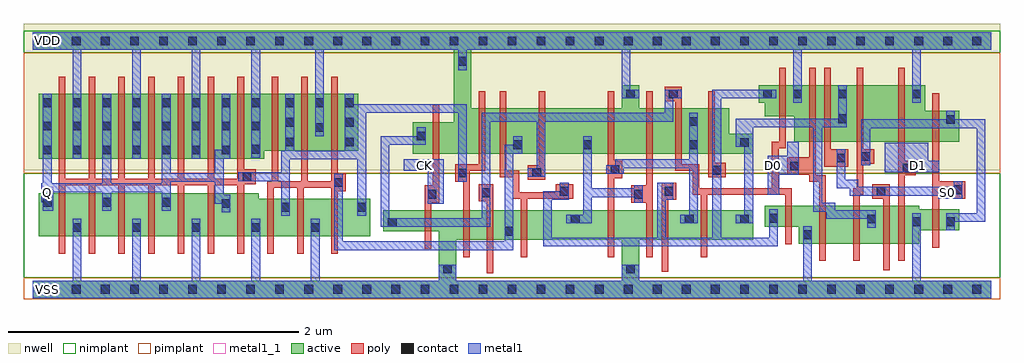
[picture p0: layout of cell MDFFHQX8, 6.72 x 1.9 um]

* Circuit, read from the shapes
.subckt MDFFHQX8 CK D0 D1 Q S0 VDD VSS
M1 VSS n1 Q VSS nfet w=0.295u l=0.045u m=7
M2 n1 n2 VSS VSS nfet w=0.26u l=0.045u m=3
M3 VSS CK n3 VSS nfet w=0.145u l=0.045u
M4 n4 n1 VSS VSS nfet w=0.205u l=0.045u
M5 n2 n3 n4 VSS nfet w=0.205u l=0.045u
M6 n5 n6 n2 VSS nfet w=0.205u l=0.045u
M7 VSS n7 n5 VSS nfet w=0.205u l=0.045u
M8 n8 n5 VSS VSS nfet w=0.205u l=0.045u
M9 n7 n6 n8 VSS nfet w=0.205u l=0.045u
M10 n9 n3 n7 VSS nfet w=0.205u l=0.045u
M11 VSS n3 n6 VSS nfet w=0.145u l=0.045u
M12 n10 D0 VSS VSS nfet w=0.26u l=0.045u
M13 n9 n11 n10 VSS nfet w=0.26u l=0.045u
M14 n12 S0 n9 VSS nfet w=0.26u l=0.045u
M15 VSS D1 n12 VSS nfet w=0.26u l=0.045u
M16 n11 S0 VSS VSS nfet w=0.145u l=0.045u
M17 VDD n1 Q VDD pfet w=0.445u l=0.045u m=7
M18 n1 n2 VDD VDD pfet w=0.39u l=0.045u m=3
M19 VDD CK n3 VDD pfet w=0.215u l=0.045u
M20 n13 n1 VDD VDD pfet w=0.31u l=0.045u
M21 n2 n6 n13 VDD pfet w=0.31u l=0.045u
M22 n5 n3 n2 VDD pfet w=0.31u l=0.045u
M23 VDD n7 n5 VDD pfet w=0.31u l=0.045u
M24 n14 n5 VDD VDD pfet w=0.31u l=0.045u
M25 n7 n3 n14 VDD pfet w=0.31u l=0.045u
M26 n9 n6 n7 VDD pfet w=0.31u l=0.045u
M27 VDD n3 n6 VDD pfet w=0.215u l=0.045u
M28 n15 D0 VDD VDD pfet w=0.39u l=0.045u
M29 n9 S0 n15 VDD pfet w=0.39u l=0.045u
M30 n16 n11 n9 VDD pfet w=0.39u l=0.045u
M31 VDD D1 n16 VDD pfet w=0.39u l=0.045u
M32 n11 S0 VDD VDD pfet w=0.215u l=0.045u
.ends

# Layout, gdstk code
import gdstk
lib = gdstk.Library(unit=1e-6, precision=5e-10)
def R(c, l, rs):  # rectangles x0, y0, x1, y1
    for r in rs: c.add(gdstk.rectangle(r[:2], r[2:], *l))
def A(c, l, x, y, w, h, nx, ny, dx, dy):  # array of equal rectangles
    R(c, l, [(x+i*dx, y+j*dy, x+i*dx+w, y+j*dy+h) for i in range(nx) for j in range(ny)])
def P(c, l, *ps):  # polygons
    for p in ps: c.add(gdstk.Polygon(p, *l))
active = (1, 0)
nwell = (2, 0)
poly = (3, 0)
nimplant = (4, 0)
pimplant = (5, 0)
contact = (6, 0)
metal1 = (7, 0)
metal1_1 = (7, 1)

mdffhqx8 = lib.new_cell('MDFFHQX8')
P(mdffhqx8, active, [(0,1.77),(6.6,1.77),(6.6,1.65),(3.02,1.65),(3.02,1.245),(4.055,1.245),(4.055,1.405),(4.175,1.405),(4.175,1.245),(4.795,1.245),(4.795,1.07),(4.96,1.07),(4.96,0.935),(2.615,0.935),(2.615,1.15),(2.9,1.15),(2.9,1.65),(0,1.65)],
  [(0.04,1.345),(2.24,1.345),(2.24,0.955),(1.595,0.955),(1.595,0.9),(0.04,0.9)],
  [(5,1.405),(6.145,1.405),(6.145,1.23),(6.38,1.23),(6.38,1.015),(5.245,1.015),(5.245,1.19),(5.04,1.19),(5.04,1.285),(5,1.285)],
  [(0.04,0.66),(1.555,0.66),(1.555,0.625),(2.325,0.625),(2.325,0.365),(0.04,0.365)],
  [(2.415,0.545),(4.96,0.545),(4.96,0.34),(4.175,0.34),(4.175,0.06),(6.6,0.06),(6.6,-0.06),(0,-0.06),(0,0.06),(2.795,0.06),(2.795,0.34),(2.915,0.34),(2.915,0.06),(4.055,0.06),(4.055,0.34),(2.795,0.34),(2.795,0.4),(2.415,0.4)],
  [(5.04,0.575),(6.105,0.575),(6.105,0.55),(6.38,0.55),(6.38,0.405),(6.105,0.405),(6.105,0.315),(5.275,0.315),(5.275,0.43),(5.04,0.43)])
R(mdffhqx8, nwell, [(-0.06,0.82,6.66,1.83)])
P(mdffhqx8, poly, [(0.18,1.465),(0.225,1.465),(0.225,0.76),(0.385,0.76),(0.385,1.465),(0.43,1.465),(0.43,0.76),(0.59,0.76),(0.59,1.465),(0.635,1.465),(0.635,0.76),(0.795,0.76),(0.795,1.465),(0.84,1.465),(0.84,0.76),(1,0.76),(1,1.465),(1.045,1.465),(1.045,0.76),(1.205,0.76),(1.205,1.465),(1.25,1.465),(1.25,0.76),(1.41,0.76),(1.41,1.465),(1.455,1.465),(1.455,0.825),(1.535,0.825),(1.535,0.725),(1.455,0.725),(1.455,0.245),(1.41,0.245),(1.41,0.715),(1.25,0.715),(1.25,0.245),(1.205,0.245),(1.205,0.715),(1.045,0.715),(1.045,0.245),(1,0.245),(1,0.715),(0.84,0.715),(0.84,0.245),(0.795,0.245),(0.795,0.715),(0.635,0.715),(0.635,0.245),(0.59,0.245),(0.59,0.715),(0.43,0.715),(0.43,0.245),(0.385,0.245),(0.385,0.715),(0.225,0.715),(0.225,0.245),(0.18,0.245)],
  [(1.645,1.465),(1.69,1.465),(1.69,0.745),(1.85,0.745),(1.85,1.465),(1.895,1.465),(1.895,0.745),(2.055,0.745),(2.055,1.465),(2.1,1.465),(2.1,0.795),(2.155,0.795),(2.155,0.675),(2.1,0.675),(2.1,0.245),(2.055,0.245),(2.055,0.7),(1.865,0.7),(1.865,0.245),(1.82,0.245),(1.82,0.7),(1.66,0.7),(1.66,0.245),(1.615,0.245),(1.615,0.745),(1.645,0.745)],
  [(4.35,1.395),(4.47,1.395),(4.47,0.86),(4.59,0.86),(4.59,0.695),(5.09,0.695),(5.09,1.015),(5.14,1.015),(5.14,1.525),(5.185,1.525),(5.185,0.97),(5.135,0.97),(5.135,0.695),(5.225,0.695),(5.225,0.31),(5.18,0.31),(5.18,0.65),(4.645,0.65),(4.645,0.22),(4.6,0.22),(4.6,0.65),(4.545,0.65),(4.545,0.815),(4.425,0.815),(4.425,1.295),(4.35,1.295)],
  [(2.755,1.27),(2.8,1.27),(2.8,0.595),(2.745,0.595),(2.745,0.28),(2.7,0.28),(2.7,0.715),(2.755,0.715)],
  [(3.07,1.365),(3.115,1.365),(3.115,0.815),(3.01,0.815),(3.01,0.22),(2.965,0.22),(2.965,0.74),(2.91,0.74),(2.91,0.86),(3.07,0.86)],
  [(3.215,1.365),(3.26,1.365),(3.26,0.815),(3.35,0.815),(3.35,0.67),(3.6,0.67),(3.6,0.725),(3.72,0.725),(3.72,0.625),(3.405,0.625),(3.405,0.22),(3.36,0.22),(3.36,0.625),(3.305,0.625),(3.305,0.77),(3.215,0.77)],
  [(3.485,1.365),(3.53,1.365),(3.53,0.755),(3.41,0.755),(3.41,0.855),(3.485,0.855)],
  [(3.96,1.365),(4.005,1.365),(4.005,0.885),(4.06,0.885),(4.06,0.765),(4.005,0.765),(4.005,0.22),(3.96,0.22)],
  [(4.225,1.365),(4.27,1.365),(4.27,0.22),(4.225,0.22),(4.225,0.595),(4.12,0.595),(4.12,0.715),(4.225,0.715)],
  [(5.345,1.525),(5.39,1.525),(5.39,0.785),(5.46,0.785),(5.46,0.195),(5.415,0.195),(5.415,0.74),(5.345,0.74),(5.345,0.79),(5.195,0.79),(5.195,0.91),(5.345,0.91)],
  [(5.45,1.525),(5.495,1.525),(5.495,0.965),(5.615,0.965),(5.615,0.845),(5.45,0.845)],
  [(5.675,1.525),(5.72,1.525),(5.72,0.965),(5.795,0.965),(5.795,0.865),(5.72,0.865),(5.72,0.65),(5.695,0.65),(5.695,0.195),(5.65,0.195),(5.65,0.695),(5.675,0.695)],
  [(5.96,1.525),(6.005,1.525),(6.005,0.885),(6.08,0.885),(6.08,0.785),(6.005,0.785),(6.005,0.195),(5.96,0.195)],
  [(4.65,1.365),(4.695,1.365),(4.695,0.87),(4.77,0.87),(4.77,0.77),(4.65,0.77)],
  [(6.195,1.35),(6.24,1.35),(6.24,0.745),(6.42,0.745),(6.42,0.625),(6.24,0.625),(6.24,0.285),(6.195,0.285)],
  [(3.07,0.725),(3.17,0.725),(3.17,0.11),(3.125,0.11),(3.125,0.605),(3.07,0.605)],
  [(4.33,0.735),(4.43,0.735),(4.43,0.615),(4.375,0.615),(4.375,0.12),(4.33,0.12)],
  [(5.78,0.725),(5.9,0.725),(5.9,0.13),(5.855,0.13),(5.855,0.625),(5.78,0.625)])
R(mdffhqx8, nimplant, [(-0.06,0.08,6.66,0.8), (-0.06,1.63,6.66,1.78)])
R(mdffhqx8, pimplant, [(-0.06,-0.07,6.66,0.08), (-0.06,0.8,6.66,1.63)])
A(mdffhqx8, contact, 0.07, -0.03, 0.06, 0.06, 33, 2, 0.2, 1.71)
A(mdffhqx8, contact, 0.275, 0.395, 0.06, 0.06, 5, 1, 0.41, 0)
A(mdffhqx8, contact, 0.07, 0.57, 0.06, 0.06, 3, 1, 0.41, 0)
A(mdffhqx8, contact, 0.07, 0.93, 0.06, 0.06, 7, 1, 0.205, 0)
A(mdffhqx8, contact, 0.07, 1.095, 0.06, 0.06, 8, 2, 0.205, 0.16)
A(mdffhqx8, contact, 1.74, 1.255, 0.06, 0.06, 3, 1, 0.205, 0)
R(mdffhqx8, contact, [(2.825,0.11,2.885,0.17), (4.085,0.11,4.145,0.17), (5.305,0.345,5.365,0.405), (3.25,0.37,3.31,0.43), (2.445,0.43,2.505,0.49), (6.055,0.435,6.115,0.495), (6.29,0.435,6.35,0.495), (3.705,0.455,3.765,0.515), (4.49,0.455,4.55,0.515), (4.87,0.455,4.93,0.515), (5.745,0.455,5.805,0.515), (5.07,0.46,5.13,0.52), (1.71,0.535,1.77,0.595), (2.235,0.535,2.295,0.595), (1.3,0.56,1.36,0.62), (2.72,0.625,2.78,0.685), (4.14,0.625,4.2,0.685), (3.09,0.635,3.15,0.695), (3.63,0.645,3.69,0.705), (4.35,0.645,4.41,0.705), (5.81,0.645,5.87,0.705), (6.34,0.655,6.4,0.715), (2.075,0.705,2.135,0.765), (1.445,0.745,1.505,0.805), (2.93,0.77,2.99,0.83), (3.44,0.775,3.5,0.835), (4.68,0.79,4.74,0.85), (3.98,0.795,4.04,0.855), (5.99,0.805,6.05,0.865), (5.215,0.82,5.275,0.88), (5.535,0.875,5.595,0.935), (5.705,0.885,5.765,0.945), (1.505,0.935,1.565,0.995), (3.31,0.965,3.37,1.025), (3.79,0.965,3.85,1.025), (4.52,0.965,4.58,1.025), (4.87,0.98,4.93,1.04), (1.74,0.985,1.8,1.045), (2.15,0.985,2.21,1.045), (2.645,1.025,2.705,1.085), (1.945,1.085,2.005,1.145), (1.74,1.12,1.8,1.18), (2.15,1.12,2.21,1.18), (4.52,1.125,4.58,1.185), (6.29,1.14,6.35,1.2), (5.545,1.145,5.605,1.205), (4.085,1.315,4.145,1.375), (4.38,1.315,4.44,1.375), (5.03,1.315,5.09,1.375), (5.235,1.315,5.295,1.375), (5.545,1.315,5.605,1.375), (6.055,1.315,6.115,1.375), (2.93,1.54,2.99,1.6)])
P(mdffhqx8, metal1, [(0,1.77),(6.6,1.77),(6.6,1.65),(6.115,1.65),(6.115,1.285),(6.055,1.285),(6.055,1.65),(5.295,1.65),(5.295,1.285),(5.235,1.285),(5.235,1.65),(4.115,1.65),(4.115,1.375),(4.175,1.375),(4.175,1.315),(4.055,1.315),(4.055,1.65),(2.99,1.65),(2.99,1.51),(2.93,1.51),(2.93,1.65),(2.005,1.65),(2.005,1.055),(1.945,1.055),(1.945,1.65),(1.565,1.65),(1.565,0.905),(1.505,0.905),(1.505,1.65),(1.155,1.65),(1.155,0.9),(1.095,0.9),(1.095,1.65),(0.745,1.65),(0.745,0.9),(0.685,0.9),(0.685,1.65),(0.335,1.65),(0.335,0.9),(0.275,0.9),(0.275,1.65),(0,1.65)],
  [(0.07,1.345),(0.13,1.345),(0.13,0.73),(0.48,0.73),(0.48,1.345),(0.54,1.345),(0.54,0.73),(0.89,0.73),(0.89,1.345),(0.95,1.345),(0.95,0.8),(1.255,0.8),(1.255,0.96),(1.3,0.96),(1.3,1.345),(1.36,1.345),(1.36,0.9),(1.315,0.9),(1.315,0.65),(1.36,0.65),(1.36,0.53),(1.3,0.53),(1.3,0.59),(1.255,0.59),(1.255,0.74),(0.95,0.74),(0.95,0.54),(0.89,0.54),(0.89,0.67),(0.54,0.67),(0.54,0.54),(0.48,0.54),(0.48,0.67),(0.14,0.67),(0.14,0.54),(0.07,0.54),(0.07,0.6),(0.06,0.6),(0.06,0.73),(0.07,0.73)],
  [(1.74,1.345),(1.8,1.345),(1.8,0.955),(2.15,0.955),(2.15,1.345),(2.21,1.345),(2.21,1.275),(2.99,1.275),(2.99,0.74),(2.93,0.74),(2.93,1.215),(2.295,1.215),(2.295,0.505),(2.235,0.505),(2.235,0.895),(1.77,0.895),(1.77,0.505),(1.71,0.505),(1.71,0.745),(1.415,0.745),(1.415,0.805),(1.71,0.805),(1.71,0.955),(1.74,0.955)],
  [(4.35,1.375),(4.47,1.375),(4.47,1.315),(4.41,1.315),(4.41,1.155),(3.53,1.155),(3.53,0.775),(3.41,0.775),(3.41,0.835),(3.47,0.835),(3.47,1.155),(3.15,1.155),(3.15,0.43),(2.395,0.43),(2.395,1.055),(2.645,1.055),(2.645,1.115),(2.705,1.115),(2.705,0.995),(2.455,0.995),(2.455,0.49),(3.09,0.49),(3.09,1.215),(4.35,1.215)],
  [(0.275,0.485),(0.335,0.485),(0.335,0.06),(0.685,0.06),(0.685,0.485),(0.745,0.485),(0.745,0.06),(1.095,0.06),(1.095,0.485),(1.155,0.485),(1.155,0.06),(1.505,0.06),(1.505,0.485),(1.565,0.485),(1.565,0.06),(1.915,0.06),(1.915,0.485),(1.975,0.485),(1.975,0.06),(2.795,0.06),(2.795,0.17),(2.915,0.17),(2.915,0.06),(4.055,0.06),(4.055,0.17),(4.175,0.17),(4.175,0.06),(5.305,0.06),(5.305,0.435),(5.365,0.435),(5.365,0.06),(6.055,0.06),(6.055,0.525),(6.115,0.525),(6.115,0.06),(6.6,0.06),(6.6,-0.06),(0,-0.06),(0,0.06),(0.275,0.06)],
  [(3.31,1.055),(3.37,1.055),(3.37,0.935),(3.31,0.935),(3.31,0.27),(2.075,0.27),(2.075,0.795),(2.135,0.795),(2.135,0.33),(3.25,0.33),(3.25,0.995),(3.31,0.995)],
  [(2.555,0.895),(2.83,0.895),(2.83,0.59),(2.72,0.59),(2.72,0.815),(2.555,0.815)],
  [(4.68,1.375),(5.12,1.375),(5.12,1.315),(4.74,1.315),(4.74,0.355),(5.07,0.355),(5.07,0.55),(5.13,0.55),(5.13,0.295),(3.515,0.295),(3.515,0.675),(3.63,0.675),(3.63,0.735),(3.69,0.735),(3.69,0.615),(3.575,0.615),(3.575,0.355),(4.3,0.355),(4.3,0.735),(4.41,0.735),(4.41,0.615),(4.36,0.615),(4.36,0.355),(4.68,0.355)],
  [(4.52,1.215),(4.58,1.215),(4.58,0.455),(4.46,0.455),(4.46,0.515),(4.52,0.515),(4.52,0.835),(4.07,0.835),(4.07,0.795),(3.95,0.795),(3.95,0.855),(4.01,0.855),(4.01,0.895),(4.52,0.895)],
  [(3.79,1.055),(3.85,1.055),(3.85,0.695),(4.14,0.695),(4.14,0.715),(4.2,0.715),(4.2,0.595),(4.14,0.595),(4.14,0.635),(3.85,0.635),(3.85,0.455),(3.675,0.455),(3.675,0.515),(3.79,0.515)],
  [(5.545,1.405),(5.605,1.405),(5.605,1.115),(5.435,1.115),(5.435,0.595),(5.525,0.595),(5.525,0.545),(5.805,0.545),(5.805,0.425),(5.745,0.425),(5.745,0.485),(5.465,0.485),(5.465,0.535),(5.375,0.535),(5.375,1.115),(4.96,1.115),(4.96,0.455),(4.84,0.455),(4.84,0.515),(4.9,0.515),(4.9,0.98),(4.84,0.98),(4.84,1.175),(5.545,1.175)],
  [(6.29,1.23),(6.35,1.23),(6.35,1.17),(6.56,1.17),(6.56,0.465),(6.35,0.465),(6.35,0.405),(6.29,0.405),(6.29,0.525),(6.5,0.525),(6.5,1.11),(5.765,1.11),(5.765,0.855),(5.705,0.855),(5.705,1.17),(6.29,1.17)],
  [(5.195,1.015),(5.275,1.015),(5.275,0.79),(5.14,0.79),(5.14,0.65),(5.06,0.65),(5.06,0.92),(5.195,0.92)],
  [(5.535,0.965),(5.595,0.965),(5.595,0.755),(5.685,0.755),(5.685,0.705),(6.34,0.705),(6.34,0.745),(6.4,0.745),(6.4,0.625),(6.235,0.625),(6.235,0.645),(5.625,0.645),(5.625,0.695),(5.535,0.695)],
  [(5.865,1.01),(6.165,1.01),(6.165,0.885),(6.24,0.885),(6.24,0.805),(5.865,0.805)])
R(mdffhqx8, metal1_1, [(0.06,-0.04,0.14,0.04), (0.06,0.625,0.14,0.705), (6.26,0.625,6.34,0.705), (2.66,0.815,2.74,0.895), (5.06,0.815,5.14,0.895), (6.06,0.815,6.14,0.895), (0.06,1.67,0.14,1.75)])
mdffhqx8.add(gdstk.Label('S0', (6.3,0.665), layer=7, texttype=1))
mdffhqx8.add(gdstk.Label('D1', (6.1,0.855), layer=7, texttype=1))
mdffhqx8.add(gdstk.Label('D0', (5.1,0.855), layer=7, texttype=1))
mdffhqx8.add(gdstk.Label('CK', (2.7,0.855), layer=7, texttype=1))
mdffhqx8.add(gdstk.Label('Q', (0.1,0.665), layer=7, texttype=1))
mdffhqx8.add(gdstk.Label('VDD', (0.1,1.71), layer=7, texttype=1))
mdffhqx8.add(gdstk.Label('VSS', (0.1,0), layer=7, texttype=1))
mdffhqx8.add(gdstk.Label('MDFFHQX8', (0,0), layer=63, texttype=0))

lib.write_gds('MDFFHQX8.gds')
